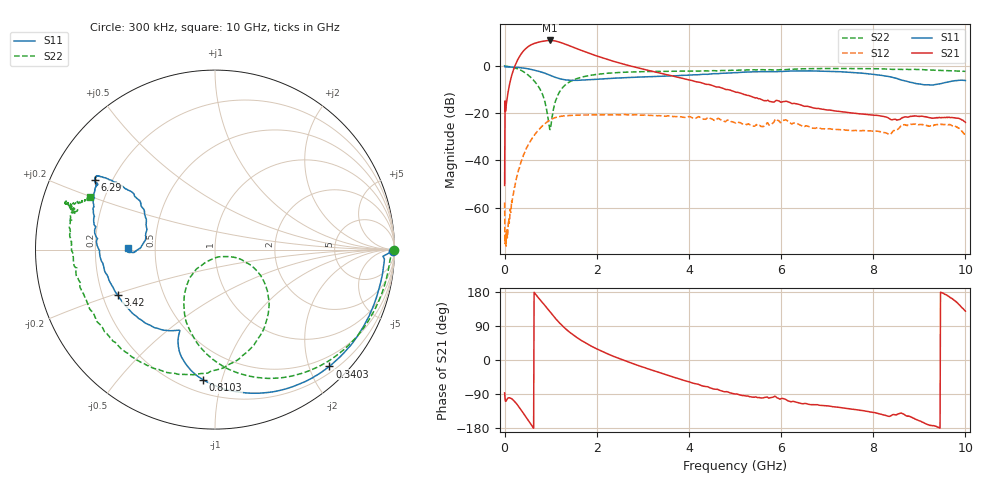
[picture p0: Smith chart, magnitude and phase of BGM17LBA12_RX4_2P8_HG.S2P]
!Agilent Technologies,E5071C,MY46316587,B.13.01
!Date: Fri Dec 08 11:08:27 2017
!Data & Calibration Information:
!Freq	S11:SOLT2(ON)	S21:SOLT2(ON)	S12:SOLT2(ON)	S22:SOLT2(ON)
!PortZ  Port1:50+j0  Port2:50+j0
!Above PortZ is port z conversion or system Z0 setting when saving the data.
!When reading, reference impedance value at option line is always used.
# Hz S dB R 50
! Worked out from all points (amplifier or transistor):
!   1001 points, 300 kHz to 10 GHz, reference 50 ohm
!   highest |S21| = 10.7 dB at 990.3 MHz (marker M1)
!   |S21| within 3 dB of that: 484.9 MHz to 1.506 GHz (1.022 GHz wide, 103 % of centre)
!   unconditionally stable (mu >= 1): start of sweep to end of sweep
!   at 1.66 GHz: K = 1.44, MAG = 9.7 dB, |S12| = -20.8 dB
!   at 5 GHz: K = 5.33, MAG = -3.7 dB, |S12| = -24.1 dB
!   at 10 GHz: K = 78.21, MAG = -19.1 dB, |S12| = -29.7 dB
!   lowest NFmin = 1.08 dB at 750 MHz
!   S11 on the Smith chart (normalised r, x): 300 kHz: open; 340.3 MHz: 0.31, -2.35; 810.3 MHz: 0.28, -0.87; 3.42 GHz: 0.26, -0.21; 6.29 GHz: 0.14, +0.27; 10 GHz: 0.35, +0.01
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300000  -0.07 -0.4  -50.54 -86.8  -57.72 134.8  -0.05 -0.1
6.02982e7  -0.51 -8.6  -13.01 -102.5  -72.69 100.3  -0.30 -11.3
2.102937e8  -0.63 -28.7  -0.81 -108.7  -51.36 158.8  -0.83 -37.8
3.402898e8  -0.81 -45.6  4.41 -128.6  -41.70 159.1  -1.77 -60.5
4.602862e8  -1.13 -60.5  7.25 -150.3  -35.54 147.7  -3.18 -80.3
5.902823e8  -1.63 -74.9  8.96 -173.2  -30.82 132.3  -5.34 -99.6
7.00279e8  -2.14 -85.7  9.76 169.5  -27.97 120.1  -7.82 -114.3
8.102757e8  -2.75 -95.2  10.25 153.1  -25.59 108.2  -11.54 -127.3
9.902703e8  -4.05 -107.3  10.66 126.5  -22.85 87.1  -26.96 -66.8
1.140266e9  -5.18 -112.0  10.23 104.7  -21.70 70.1  -13.11 -23.8
1.33026e9  -5.99 -113.2  9.00 81.7  -21.11 53.2  -7.90 -42.1
1.67025e9  -6.11 -114.8  6.44 51.3  -20.81 33.2  -4.84 -67.6
2.00024e9  -5.72 -119.0  4.12 29.3  -20.73 19.7  -3.62 -85.5
2.35023e9  -5.32 -125.7  1.94 10.3  -20.73 9.0  -3.00 -99.9
3.3402e9  -4.50 -152.6  -2.96 -32.5  -21.08 -18.6  -2.41 -131.7
3.420197e9  -4.46 -155.0  -3.31 -35.7  -21.18 -21.2  -2.38 -134.3
5.00015e9  -2.89 161.2  -11.05 -89.7  -24.08 -54.1  -1.95 177.8
6.290111e9  -2.24 149.7  -15.92 -110.0  -24.16 -72.1  -1.45 163.4
6.6701e9  -2.21 147.9  -17.69 -118.0  -26.25 -78.2  -1.23 162.1
8.34005e9  -4.57 145.6  -22.23 -148.8  -28.98 -87.7  -1.43 162.3
9.470016e9  -7.56 179.3  -21.97 178.5  -24.82 -140.1  -2.01 160.9
1e10  -6.27 179.2  -23.93 128.7  -29.67 149.4  -2.43 157.2
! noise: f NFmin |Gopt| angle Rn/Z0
6.5e+08  1.11  0.5631  64.83  0.3216
7e+08  1.126  0.4949  70.04  0.2444
7.5e+08  1.085  0.5232  70.57  0.2348
8e+08  1.116  0.5036  74.76  0.2406
8.5e+08  1.132  0.4781  78.09  0.2243
9e+08  1.141  0.4614  79.44  0.2186
9.5e+08  1.167  0.4663  82.86  0.2258
1e+09  1.2  0.4439  88  0.1989
